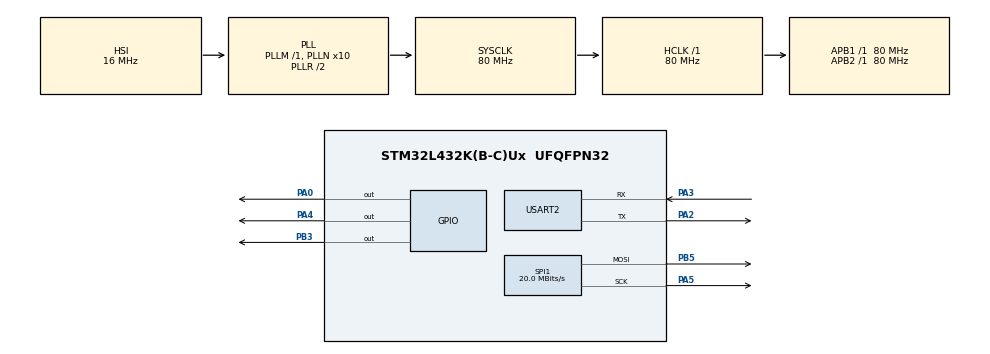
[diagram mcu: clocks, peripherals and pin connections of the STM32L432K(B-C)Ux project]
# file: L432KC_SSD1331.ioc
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Mcu.Family=STM32L4
RCC.MSI_VALUE=4000000
RCC.PLLSourceVirtual=RCC_PLLSOURCE_HSI
PA14\ (JTCK-SWCLK).Mode=Serial_Wire
Dma.SPI1_TX.0.MemInc=DMA_MINC_ENABLE
Dma.SPI1_TX.0.PeriphInc=DMA_PINC_DISABLE
RCC.CortexFreq_Value=80000000
SPI1.VirtualType=VM_MASTER
VP_SYS_VS_tim7.Mode=TIM7
USART2.Parity=PARITY_ODD
PA0.PinState=GPIO_PIN_SET
PB3\ (JTDO-TRACESWO).PinState=GPIO_PIN_SET
SPI1.CLKPhase=SPI_PHASE_2EDGE
RCC.SYSCLKSource=RCC_SYSCLKSOURCE_PLLCLK
ProjectManager.StackSize=0x400
PB3\ (JTDO-TRACESWO).Signal=GPIO_Output
NVIC.DMA1_Channel3_IRQn=true\:0\:0\:false\:false\:true\:false\:true
PA0.GPIO_Speed=GPIO_SPEED_FREQ_HIGH
PA14\ (JTCK-SWCLK).Signal=SYS_JTCK-SWCLK
PA3.Mode=Asynchronous
SPI1.CLKPolarity=SPI_POLARITY_HIGH
PA4.PinState=GPIO_PIN_SET
ProjectManager.TargetToolchain=Other Toolchains (GPDSC)
SPI1.Direction=SPI_DIRECTION_2LINES
Dma.SPI1_TX.0.PeriphDataAlignment=DMA_PDATAALIGN_BYTE
RCC.HCLKFreq_Value=80000000
Dma.SPI1_TX.0.Direction=DMA_MEMORY_TO_PERIPH
RCC.APB2TimFreq_Value=80000000
PB6.Signal=I2C1_SCL
SPI1.CalculateBaudRate=20.0 MBits/s
RCC.USBFreq_Value=64000000
RCC.LSE_VALUE=32768
RCC.AHBFreq_Value=80000000
PA5.Signal=SPI1_SCK
RCC.HSE_VALUE=8000000
board=custom
USART2.VirtualMode-Asynchronous=VM_ASYNC
RCC.VCOOutputFreq_Value=160000000
PA4.GPIO_Speed=GPIO_SPEED_FREQ_HIGH
RCC.APB2Freq_Value=80000000
SPI1.Mode=SPI_MODE_MASTER
PB5.Mode=TX_Only_Simplex_Unidirect_Master
RCC.ADCFreq_Value=64000000
SPI1.DataSize=SPI_DATASIZE_8BIT
Dma.SPI1_TX.0.Instance=DMA1_Channel3
PB7.Signal=I2C1_SDA
Mcu.Name=STM32L432K(B-C)Ux
PA2.Signal=USART2_TX
PA0.Signal=GPIO_Output
Dma.SPI1_TX.0.Mode=DMA_NORMAL
PA13\ (JTMS-SWDIO).Mode=Serial_Wire
PA4.Signal=GPIO_Output
RCC.SYSCLKFreq_VALUE=80000000
Mcu.Package=UFQFPN32
PB5.Signal=SPI1_MOSI
NVIC.TimeBase=TIM7_IRQn
NVIC.TimeBaseIP=TIM7
ProjectManager.HeapSize=0x200
Dma.SPI1_TX.0.Priority=DMA_PRIORITY_MEDIUM
Dma.SPI1_TX.0.MemDataAlignment=DMA_MDATAALIGN_BYTE
USART2.WordLength=WORDLENGTH_9B
RCC.HSI_VALUE=16000000
NVIC.PriorityGroup=NVIC_PRIORITYGROUP_4
RCC.PLLN=10
RCC.APB1TimFreq_Value=80000000
PA2.Mode=Asynchronous
PB3\ (JTDO-TRACESWO).GPIO_Speed=GPIO_SPEED_FREQ_HIGH
PA13\ (JTMS-SWDIO).Signal=SYS_JTMS-SWDIO
Dma.Request0=SPI1_TX
RCC.APB1Freq_Value=80000000
SPI1.BaudRatePrescaler=SPI_BAUDRATEPRESCALER_4
NVIC.TIM7_IRQn=true\:0\:0\:false\:false\:true\:false\:true
RCC.HSI48_VALUE=48000000
PA3.Signal=USART2_RX
PA5.Mode=TX_Only_Simplex_Unidirect_Master

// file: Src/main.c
/* USER CODE BEGIN Header */
/**
  ******************************************************************************
  * @file           : main.c
  * @brief          : Main program body
  ******************************************************************************
  * @attention
  *
  * <h2><center>&copy; Copyright (c) 2021 STMicroelectronics.
  * All rights reserved.</center></h2>
  *
  * This software component is licensed by ST under BSD 3-Clause license,
  * the "License"; You may not use this file except in compliance with the
  * License. You may obtain a copy of the License at:
  *                        opensource.org/licenses/BSD-3-Clause
  *
  ******************************************************************************
  */
/* USER CODE END Header */

#include "main.h"
#include "dma.h"
#include "spi.h"
#include "usart.h"
#include "gpio.h"

/* USER CODE BEGIN Includes */
#include "string.h"
#include "../SSD1331.h"
#include <stdio.h>
/* USER CODE END Includes */

/* USER CODE BEGIN PD */
#define PORT_SSD_CS GPIOA
#define PIN_SSD_CS GPIO_PIN_4
#define PORT_SSD_DC GPIOA
#define PIN_SSD_DC GPIO_PIN_0
#define PORT_SSD_RES GPIOB
#define PIN_SSD_RES GPIO_PIN_3
/* USER CODE END PD */

void SystemClock_Config(void);

int main(void)
{

	/* MCU Configuration--------------------------------------------------------*/

	/* Reset of all peripherals, Initializes the Flash interface and the Systick. */
	HAL_Init();

	/* Configure the system clock */
	SystemClock_Config();

	/* Initialize all configured peripherals */
	MX_GPIO_Init();
	MX_DMA_Init();
	MX_USART2_UART_Init();
	MX_SPI1_Init();
	/* USER CODE BEGIN 2 */

	SSD_Pin_Config_t cfg = {
		.CS_PORT = PORT_SSD_CS,
		.DC_PORT = PORT_SSD_DC,
		.RES_PORT = PORT_SSD_RES,
		.CS_PIN = PIN_SSD_CS,
		.DC_PIN = PIN_SSD_DC,
		.RES_PIN = PIN_SSD_RES
	};

	SSD1331 display = {
		.m_cfg = cfg,
		.m_hspi = &hspi1
	};

	SSD_Init(&display);
	SSD_Clear(&display);
	SSD_Circle(&display, 1, 1, 31, 4, 8, 4);
	SSD_Circle(&display, 2, 2, 30, 255, 255, 255);
	SSD_FilledRect(&display, 9, 9, 20, 20, 255, 0, 0, 0, 255, 0);
	SSD_FilledRect(&display, 0, 0, 128, 96, 255, 255, 255, 255, 255, 255);

	/* USER CODE END 2 */

	/* Infinite loop */
	/* USER CODE BEGIN WHILE */
	while (1)
	{
		HAL_UART_Transmit(&huart2, "Hello World!\r\n", strlen("Hello World!\r\n"), 10);
		HAL_Delay(1);
		SSD_Render(&display);
		/* USER CODE END WHILE */

	}
}

void SystemClock_Config(void)
{
	RCC_OscInitTypeDef RCC_OscInitStruct = { 0 };
	RCC_ClkInitTypeDef RCC_ClkInitStruct = { 0 };
	RCC_PeriphCLKInitTypeDef PeriphClkInit = { 0 };

	/** Initializes the CPU, AHB and APB busses clocks
	*/
	RCC_OscInitStruct.OscillatorType = RCC_OSCILLATORTYPE_HSI;
	RCC_OscInitStruct.HSIState = RCC_HSI_ON;
	RCC_OscInitStruct.HSICalibrationValue = RCC_HSICALIBRATION_DEFAULT;
	RCC_OscInitStruct.PLL.PLLState = RCC_PLL_ON;
	RCC_OscInitStruct.PLL.PLLSource = RCC_PLLSOURCE_HSI;
	RCC_OscInitStruct.PLL.PLLM = 1;
	RCC_OscInitStruct.PLL.PLLN = 10;
	RCC_OscInitStruct.PLL.PLLP = RCC_PLLP_DIV7;
	RCC_OscInitStruct.PLL.PLLQ = RCC_PLLQ_DIV2;
	RCC_OscInitStruct.PLL.PLLR = RCC_PLLR_DIV2;
	if (HAL_RCC_OscConfig(&RCC_OscInitStruct) != HAL_OK)
	{
		Error_Handler();
	}
	/** Initializes the CPU, AHB and APB busses clocks
	*/
	RCC_ClkInitStruct.ClockType = RCC_CLOCKTYPE_HCLK | RCC_CLOCKTYPE_SYSCLK
	                            | RCC_CLOCKTYPE_PCLK1 | RCC_CLOCKTYPE_PCLK2;
	RCC_ClkInitStruct.SYSCLKSource = RCC_SYSCLKSOURCE_PLLCLK;
	RCC_ClkInitStruct.AHBCLKDivider = RCC_SYSCLK_DIV1;
	RCC_ClkInitStruct.APB1CLKDivider = RCC_HCLK_DIV1;
	RCC_ClkInitStruct.APB2CLKDivider = RCC_HCLK_DIV1;

	if (HAL_RCC_ClockConfig(&RCC_ClkInitStruct, FLASH_LATENCY_4) != HAL_OK)
	{
		Error_Handler();
	}
	PeriphClkInit.PeriphClockSelection = RCC_PERIPHCLK_USART2;
	PeriphClkInit.Usart2ClockSelection = RCC_USART2CLKSOURCE_PCLK1;
	if (HAL_RCCEx_PeriphCLKConfig(&PeriphClkInit) != HAL_OK)
	{
		Error_Handler();
	}
	/** Configure the main internal regulator output voltage
	*/
	if (HAL_PWREx_ControlVoltageScaling(PWR_REGULATOR_VOLTAGE_SCALE1) != HAL_OK)
	{
		Error_Handler();
	}
}

 /**
  * @brief  Period elapsed callback in non blocking mode
  * @note   This function is called  when TIM7 interrupt took place, inside
  * HAL_TIM_IRQHandler(). It makes a direct call to HAL_IncTick() to increment
  * a global variable "uwTick" used as application time base.
  * @param  htim : TIM handle
  * @retval None
  */
void HAL_TIM_PeriodElapsedCallback(TIM_HandleTypeDef *htim)
{
	if (htim->Instance == TIM7) {
		HAL_IncTick();
	}
}

void Error_Handler(void)
{
}

/************************ (C) COPYRIGHT STMicroelectronics *****END OF FILE****/
